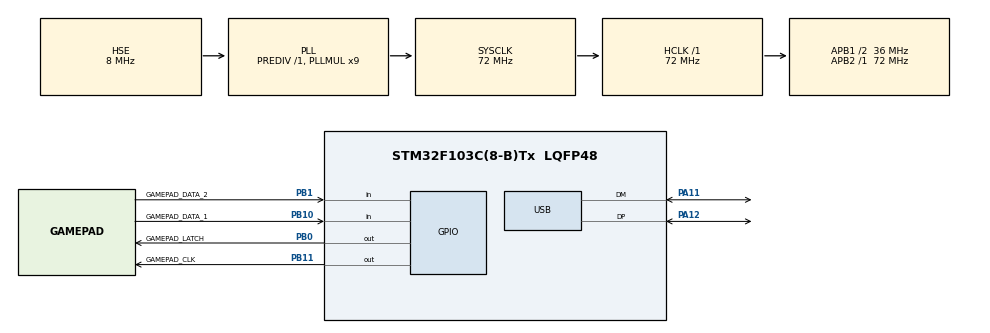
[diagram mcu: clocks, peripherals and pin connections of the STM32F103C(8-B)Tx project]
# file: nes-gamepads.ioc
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Mcu.Family=STM32F1
Mcu.Name=STM32F103C(8-B)Tx
Mcu.Package=LQFP48
NVIC.PriorityGroup=NVIC_PRIORITYGROUP_4
NVIC.USB_LP_CAN1_RX0_IRQn=true\:0\:0\:false\:false\:true\:false
PA11.Mode=Device
PA11.Signal=USB_DM
PA12.Mode=Device
PA12.Signal=USB_DP
PA13.Mode=Serial_Wire
PA13.Signal=SYS_JTMS-SWDIO
PA14.Mode=Serial_Wire
PA14.Signal=SYS_JTCK-SWCLK
PB0.GPIO_Label=GAMEPAD_LATCH
PB0.Signal=GPIO_Output
PB1.GPIO_Label=GAMEPAD_DATA_2
PB1.GPIO_PuPd=GPIO_PULLUP
PB1.Signal=GPIO_Input
PB10.GPIO_Label=GAMEPAD_DATA_1
PB10.GPIO_PuPd=GPIO_PULLUP
PB10.Signal=GPIO_Input
PB11.GPIO_Label=GAMEPAD_CLK
PB11.Signal=GPIO_Output
PD0-OSC_IN.Mode=HSE-External-Oscillator
PD0-OSC_IN.Signal=RCC_OSC_IN
PD1-OSC_OUT.Mode=HSE-External-Oscillator
PD1-OSC_OUT.Signal=RCC_OSC_OUT
ProjectManager.HeapSize=0x200
ProjectManager.StackSize=0x400
ProjectManager.TargetToolchain=TrueSTUDIO
RCC.AHBFreq_Value=72000000
RCC.APB1CLKDivider=RCC_HCLK_DIV2
RCC.APB1Freq_Value=36000000
RCC.APB1TimFreq_Value=72000000
RCC.APB2Freq_Value=72000000
RCC.APB2TimFreq_Value=72000000
RCC.HCLKFreq_Value=72000000
RCC.PLLMUL=RCC_PLL_MUL9
RCC.SYSCLKFreq_VALUE=72000000
RCC.SYSCLKSource=RCC_SYSCLKSOURCE_PLLCLK
RCC.USBFreq_Value=48000000
RCC.USBPrescaler=RCC_USBCLKSOURCE_PLL_DIV1_5
USB_DEVICE.CLASS_NAME_FS=CUSTOMHID
USB_DEVICE.PID_CUSTOMHID_FS=0xFFFF 
USB_DEVICE.PRODUCT_STRING_CUSTOMHID_FS=NES GamePads
USB_DEVICE.SERIALNUMBER_STRING_CUSTOMHID_FS=010203040506
USB_DEVICE.USBD_CUSTOMHID_OUTREPORT_BUF_SIZE=4
USB_DEVICE.USBD_CUSTOM_HID_REPORT_DESC_SIZE=56
USB_DEVICE.VID=0xFFFF
USB_DEVICE.VirtualMode=CustomHid
USB_DEVICE.VirtualModeFS=Custom_Hid_FS
VP_USB_DEVICE_VS_USB_DEVICE_CUSTOM_HID_FS.Mode=CUSTOM_HID_FS
board=custom

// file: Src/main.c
/* USER CODE BEGIN Header */
/**
  ******************************************************************************
  * @file           : main.c
  * @brief          : Main program body
  ******************************************************************************
  ** This notice applies to any and all portions of this file
  * that are not between comment pairs USER CODE BEGIN and
  * USER CODE END. Other portions of this file, whether
  * inserted by the user or by software development tools
  * are owned by their respective copyright owners.
  *
  * COPYRIGHT(c) 2019 STMicroelectronics
  *
  * Redistribution and use in source and binary forms, with or without modification,
  * are permitted provided that the following conditions are met:
  *   1. Redistributions of source code must retain the above copyright notice,
  *      this list of conditions and the following disclaimer.
  *   2. Redistributions in binary form must reproduce the above copyright notice,
  *      this list of conditions and the following disclaimer in the documentation
  *      and/or other materials provided with the distribution.
  *   3. Neither the name of STMicroelectronics nor the names of its contributors
  *      may be used to endorse or promote products derived from this software
  *      without specific prior written permission.
  *
  * THIS SOFTWARE IS PROVIDED BY THE COPYRIGHT HOLDERS AND CONTRIBUTORS "AS IS"
  * AND ANY EXPRESS OR IMPLIED WARRANTIES, INCLUDING, BUT NOT LIMITED TO, THE
  * IMPLIED WARRANTIES OF MERCHANTABILITY AND FITNESS FOR A PARTICULAR PURPOSE ARE
  * DISCLAIMED. IN NO EVENT SHALL THE COPYRIGHT HOLDER OR CONTRIBUTORS BE LIABLE
  * FOR ANY DIRECT, INDIRECT, INCIDENTAL, SPECIAL, EXEMPLARY, OR CONSEQUENTIAL
  * DAMAGES (INCLUDING, BUT NOT LIMITED TO, PROCUREMENT OF SUBSTITUTE GOODS OR
  * SERVICES; LOSS OF USE, DATA, OR PROFITS; OR BUSINESS INTERRUPTION) HOWEVER
  * CAUSED AND ON ANY THEORY OF LIABILITY, WHETHER IN CONTRACT, STRICT LIABILITY,
  * OR TORT (INCLUDING NEGLIGENCE OR OTHERWISE) ARISING IN ANY WAY OUT OF THE USE
  * OF THIS SOFTWARE, EVEN IF ADVISED OF THE POSSIBILITY OF SUCH DAMAGE.
  *
  ******************************************************************************
  */
/* USER CODE END Header */

#include "main.h"
#include "usb_device.h"

/* USER CODE BEGIN Includes */

#include "usbd_customhid.h"

/* USER CODE END Includes */

/* USER CODE BEGIN PTD */

typedef enum {
    GAMEPAD_1,
    GAMEPAD_2,
    GAMEPAD_COUNT
} GamePad_Index;

#define GAMEPAD_REPORT_ID_1         (GAMEPAD_1 + 1)
#define GAMEPAD_REPORT_ID_2         (GAMEPAD_2 + 1)

extern USBD_HandleTypeDef hUsbDeviceFS;

typedef struct {
    const uint8_t ReportId;
    uint8_t ButtonsMask;
} GamePad_HidReportTypeDef;

//_Static_assert(sizeof(GamePad_HidReportTypeDef) == USBD_CUSTOMHID_OUTREPORT_BUF_SIZE,
//               "Invalid size of GamePad_HidReportTypeDef");

/* USER CODE END PTD */

/* USER CODE BEGIN PV */

static GamePad_HidReportTypeDef GamepadReports[GAMEPAD_COUNT] = {
    { GAMEPAD_REPORT_ID_1, 0 }, /* First GamePad */
    { GAMEPAD_REPORT_ID_2, 0 } /* Second GamePad */
};

static uint8_t GamePadStates[GAMEPAD_COUNT] = {
    0, 0
};

/* USER CODE END PV */

void SystemClock_Config(void);
static void MX_GPIO_Init(void);

/* USER CODE BEGIN 0 */

static void Gamepad_SomeNopCounts(uint32_t Counts)
{
    for (volatile uint32_t Index = 0; Index < Counts; ++Index) {
        __asm__("nop");
    }
}

static void Gamepad_SendReports()
{
    for (uint8_t gamepadIndex = 0; gamepadIndex < GAMEPAD_COUNT; ++gamepadIndex) {
        if (!GamePadStates[gamepadIndex])
            continue;
        const uint8_t Status = USBD_CUSTOM_HID_SendReport(&hUsbDeviceFS, (uint8_t *)&GamepadReports[gamepadIndex], USBD_CUSTOMHID_OUTREPORT_BUF_SIZE);
        if (Status == HAL_OK) {
            GamePadStates[gamepadIndex] = 0;
        }
    }
}

static void Gamepad_Poll()
{
    /* Send latch pulse */
    HAL_GPIO_WritePin(GAMEPAD_LATCH_GPIO_Port, GAMEPAD_LATCH_Pin, GPIO_PIN_SET);
    HAL_GPIO_WritePin(GAMEPAD_LATCH_GPIO_Port, GAMEPAD_LATCH_Pin, GPIO_PIN_RESET);

    uint8_t ButtonsMask1 = 0;
    uint8_t ButtonsMask2 = 0;

    for (uint8_t Bit = 0; Bit < 8; ++Bit) {
        Gamepad_SomeNopCounts(5);

        /* Note: Status GPIO_PIN_RESET means that a button is pressed. */
        const GPIO_PinState State1 = HAL_GPIO_ReadPin(GAMEPAD_DATA_1_GPIO_Port, GAMEPAD_DATA_1_Pin);
        const GPIO_PinState State2 = HAL_GPIO_ReadPin(GAMEPAD_DATA_2_GPIO_Port, GAMEPAD_DATA_2_Pin);

        const uint8_t Value1 = (State1 == GPIO_PIN_RESET) ? 1 : 0;
        const uint8_t Value2 = (State2 == GPIO_PIN_RESET) ? 1 : 0;

        ButtonsMask1 |= (Value1 << Bit);
        ButtonsMask2 |= (Value2 << Bit);

        /* Send clock pulse. */
        HAL_GPIO_WritePin(GAMEPAD_CLK_GPIO_Port, GAMEPAD_CLK_Pin, GPIO_PIN_SET);
        HAL_GPIO_WritePin(GAMEPAD_CLK_GPIO_Port, GAMEPAD_CLK_Pin, GPIO_PIN_RESET);
    }

    GamepadReports[GAMEPAD_1].ButtonsMask = ButtonsMask1;
    GamepadReports[GAMEPAD_2].ButtonsMask = ButtonsMask2;

    GamePadStates[GAMEPAD_1] = 1;
    GamePadStates[GAMEPAD_2] = 1;

    Gamepad_SendReports();
}

/* USER CODE END 0 */

int main(void)
{

  /* MCU Configuration--------------------------------------------------------*/

  /* Reset of all peripherals, Initializes the Flash interface and the Systick. */
  HAL_Init();

  /* Configure the system clock */
  SystemClock_Config();

  /* Initialize all configured peripherals */
  MX_GPIO_Init();
  MX_USB_DEVICE_Init();

  /* Infinite loop */
  /* USER CODE BEGIN WHILE */
  while (1)
  {
      HAL_Delay(5);

      Gamepad_Poll();

    /* USER CODE END WHILE */

  }
}

void SystemClock_Config(void)
{
  RCC_OscInitTypeDef RCC_OscInitStruct = {0};
  RCC_ClkInitTypeDef RCC_ClkInitStruct = {0};
  RCC_PeriphCLKInitTypeDef PeriphClkInit = {0};

  /**Initializes the CPU, AHB and APB busses clocks
  */
  RCC_OscInitStruct.OscillatorType = RCC_OSCILLATORTYPE_HSE;
  RCC_OscInitStruct.HSEState = RCC_HSE_ON;
  RCC_OscInitStruct.HSEPredivValue = RCC_HSE_PREDIV_DIV1;
  RCC_OscInitStruct.HSIState = RCC_HSI_ON;
  RCC_OscInitStruct.PLL.PLLState = RCC_PLL_ON;
  RCC_OscInitStruct.PLL.PLLSource = RCC_PLLSOURCE_HSE;
  RCC_OscInitStruct.PLL.PLLMUL = RCC_PLL_MUL9;
  if (HAL_RCC_OscConfig(&RCC_OscInitStruct) != HAL_OK)
  {
    Error_Handler();
  }
  /**Initializes the CPU, AHB and APB busses clocks
  */
  RCC_ClkInitStruct.ClockType = RCC_CLOCKTYPE_HCLK|RCC_CLOCKTYPE_SYSCLK
                              |RCC_CLOCKTYPE_PCLK1|RCC_CLOCKTYPE_PCLK2;
  RCC_ClkInitStruct.SYSCLKSource = RCC_SYSCLKSOURCE_PLLCLK;
  RCC_ClkInitStruct.AHBCLKDivider = RCC_SYSCLK_DIV1;
  RCC_ClkInitStruct.APB1CLKDivider = RCC_HCLK_DIV2;
  RCC_ClkInitStruct.APB2CLKDivider = RCC_HCLK_DIV1;

  if (HAL_RCC_ClockConfig(&RCC_ClkInitStruct, FLASH_LATENCY_2) != HAL_OK)
  {
    Error_Handler();
  }
  PeriphClkInit.PeriphClockSelection = RCC_PERIPHCLK_USB;
  PeriphClkInit.UsbClockSelection = RCC_USBCLKSOURCE_PLL_DIV1_5;
  if (HAL_RCCEx_PeriphCLKConfig(&PeriphClkInit) != HAL_OK)
  {
    Error_Handler();
  }
}

static void MX_GPIO_Init(void)
{
  GPIO_InitTypeDef GPIO_InitStruct = {0};

  /* GPIO Ports Clock Enable */
  __HAL_RCC_GPIOD_CLK_ENABLE();
  __HAL_RCC_GPIOB_CLK_ENABLE();
  __HAL_RCC_GPIOA_CLK_ENABLE();

  /*Configure GPIO pin Output Level */
  HAL_GPIO_WritePin(GPIOB, GAMEPAD_LATCH_Pin|GAMEPAD_CLK_Pin, GPIO_PIN_RESET);

  /*Configure GPIO pins : GAMEPAD_LATCH_Pin GAMEPAD_CLK_Pin */
  GPIO_InitStruct.Pin = GAMEPAD_LATCH_Pin|GAMEPAD_CLK_Pin;
  GPIO_InitStruct.Mode = GPIO_MODE_OUTPUT_PP;
  GPIO_InitStruct.Pull = GPIO_NOPULL;
  GPIO_InitStruct.Speed = GPIO_SPEED_FREQ_LOW;
  HAL_GPIO_Init(GPIOB, &GPIO_InitStruct);

  /*Configure GPIO pins : GAMEPAD_DATA_2_Pin GAMEPAD_DATA_1_Pin */
  GPIO_InitStruct.Pin = GAMEPAD_DATA_2_Pin|GAMEPAD_DATA_1_Pin;
  GPIO_InitStruct.Mode = GPIO_MODE_INPUT;
  GPIO_InitStruct.Pull = GPIO_PULLUP;
  HAL_GPIO_Init(GPIOB, &GPIO_InitStruct);

}

void Error_Handler(void)
{
}

/************************ (C) COPYRIGHT STMicroelectronics *****END OF FILE****/
